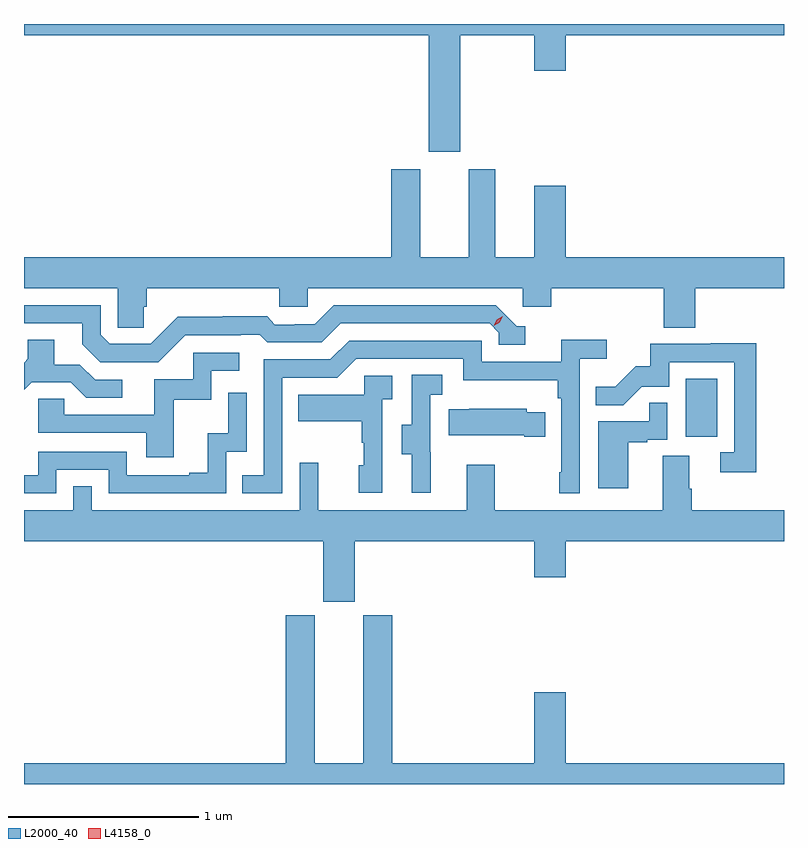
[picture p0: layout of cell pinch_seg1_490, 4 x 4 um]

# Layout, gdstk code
import gdstk
lib = gdstk.Library(unit=1e-6, precision=1e-09)
def R(c, l, rs):  # rectangles x0, y0, x1, y1
    for r in rs: c.add(gdstk.rectangle(r[:2], r[2:], *l))
def P(c, l, *ps):  # polygons
    for p in ps: c.add(gdstk.Polygon(p, *l))
L2000_40 = (2000, 40)
L4158_0 = (4158, 0)

pinch_seg1_490 = lib.new_cell('pinch_seg1_490')
R(pinch_seg1_490, L2000_40, [(1124.846,529.638,1125.01,529.945)])
P(pinch_seg1_490, L2000_40, [(1123.657,531.752),(1124.048,531.752),(1124.048,531.564),(1124.212,531.564),(1124.212,531.752),(1125.362,531.752),(1125.362,531.811),(1121.362,531.811),(1121.362,531.752),(1123.493,531.752),(1123.493,531.138),(1123.657,531.138)],
  [(1121.993,530.322),(1122.008,530.322),(1122.008,530.42),(1122.705,530.42),(1122.705,530.322),(1122.855,530.322),(1122.855,530.42),(1123.986,530.42),(1123.986,530.322),(1124.138,530.322),(1124.138,530.42),(1124.729,530.42),(1124.729,530.212),(1124.894,530.212),(1124.894,530.42),(1125.362,530.42),(1125.362,530.584),(1124.212,530.584),(1124.212,530.959),(1124.048,530.959),(1124.048,530.584),(1123.843,530.584),(1123.843,531.046),(1123.703,531.046),(1123.703,530.584),(1123.447,530.584),(1123.447,531.046),(1123.295,531.046),(1123.295,530.584),(1121.362,530.584),(1121.362,530.42),(1121.856,530.42),(1121.856,530.212),(1121.993,530.212)],
  [(1122.21,530.172),(1122.503,530.172),(1122.503,530.175),(1122.602,530.175),(1122.641,530.136),(1122.93,530.136),(1123.029,530.235),(1123.812,530.235),(1123.86,530.187),(1123.86,530.124),(1123.999,530.124),(1123.999,530.22),(1123.956,530.22),(1123.845,530.331),(1122.992,530.331),(1122.893,530.232),(1122.786,530.232),(1122.786,530.229),(1122.683,530.229),(1122.641,530.272),(1122.408,530.272),(1122.408,530.269),(1122.172,530.269),(1122.03,530.127),(1121.814,530.127),(1121.766,530.175),(1121.766,530.331),(1121.362,530.331),(1121.362,530.235),(1121.669,530.235),(1121.669,530.125),(1121.763,530.031),(1122.069,530.031)],
  [(1121.878,529.938),(1121.736,529.938),(1121.656,530.018),(1121.521,530.018),(1121.521,530.15),(1121.381,530.15),(1121.381,530.048),(1121.362,530.029),(1121.362,529.885),(1121.403,529.926),(1121.609,529.926),(1121.69,529.845),(1121.878,529.845)],
  [(1122.72,529.95),(1123.011,529.95),(1123.11,530.049),(1123.674,530.049),(1123.674,529.937),(1124.17,529.937),(1124.17,529.841),(1124.19,529.841),(1124.19,529.453),(1124.178,529.453),(1124.178,529.341),(1124.286,529.341),(1124.286,530.048),(1124.428,530.048),(1124.428,530.15),(1124.189,530.15),(1124.189,530.034),(1123.77,530.034),(1123.77,530.145),(1123.073,530.145),(1122.974,530.046),(1122.624,530.046),(1122.624,529.437),(1122.511,529.437),(1122.511,529.341),(1122.72,529.341)],
  [(1125.215,530.132),(1124.977,530.132),(1124.977,530.127),(1124.659,530.127),(1124.659,530.01),(1124.582,530.01),(1124.475,529.903),(1124.371,529.903),(1124.371,529.804),(1124.515,529.804),(1124.613,529.902),(1124.757,529.902),(1124.757,530.031),(1125.099,530.031),(1125.099,529.557),(1125.027,529.557),(1125.027,529.452),(1125.215,529.452)],
  [(1122.149,529.833),(1122.348,529.833),(1122.348,529.986),(1122.496,529.986),(1122.496,530.082),(1122.252,530.082),(1122.252,529.941),(1122.047,529.941),(1122.047,529.755),(1121.573,529.755),(1121.573,529.839),(1121.436,529.839),(1121.436,529.659),(1122.005,529.659),(1122.005,529.53),(1122.149,529.53)],
  [(1123.502,529.557),(1123.5,529.557),(1123.5,529.861),(1123.564,529.861),(1123.564,529.964),(1123.404,529.964),(1123.404,529.701),(1123.349,529.701),(1123.349,529.546),(1123.403,529.546),(1123.403,529.344),(1123.502,529.344)],
  [(1123.248,529.835),(1123.3,529.835),(1123.3,529.959),(1123.152,529.959),(1123.152,529.861),(1122.805,529.861),(1122.805,529.721),(1123.14,529.721),(1123.14,529.607),(1123.15,529.607),(1123.15,529.488),(1123.124,529.488),(1123.124,529.344),(1123.248,529.344)],
  [(1121.532,529.464),(1121.808,529.464),(1121.808,529.341),(1122.426,529.341),(1122.426,529.56),(1122.534,529.56),(1122.534,529.87),(1122.438,529.87),(1122.438,529.658),(1122.329,529.658),(1122.329,529.45),(1122.233,529.45),(1122.233,529.437),(1121.904,529.437),(1121.904,529.56),(1121.436,529.56),(1121.436,529.437),(1121.362,529.437),(1121.362,529.341),(1121.532,529.341)],
  [(1124.542,529.611),(1124.642,529.611),(1124.642,529.623),(1124.748,529.623),(1124.748,529.817),(1124.653,529.817),(1124.653,529.719),(1124.384,529.719),(1124.384,529.368),(1124.542,529.368)],
  [(1124.105,529.768),(1124.007,529.768),(1124.007,529.786),(1123.705,529.786),(1123.705,529.783),(1123.597,529.783),(1123.597,529.646),(1123.994,529.646),(1123.994,529.639),(1124.105,529.639)],
  [(1123.102,529.088),(1124.048,529.088),(1124.048,528.9),(1124.212,528.9),(1124.212,529.088),(1125.362,529.088),(1125.362,529.252),(1124.876,529.252),(1124.876,529.364),(1124.863,529.364),(1124.863,529.538),(1124.723,529.538),(1124.723,529.252),(1123.839,529.252),(1123.839,529.492),(1123.691,529.492),(1123.691,529.252),(1122.911,529.252),(1122.911,529.501),(1122.813,529.501),(1122.813,529.252),(1121.718,529.252),(1121.718,529.379),(1121.622,529.379),(1121.622,529.252),(1121.362,529.252),(1121.362,529.088),(1122.938,529.088),(1122.938,528.771),(1123.102,528.771)],
  [(1122.74,528.699),(1122.74,527.92),(1121.362,527.92),(1121.362,527.811),(1125.362,527.811),(1125.362,527.92),(1124.212,527.92),(1124.212,528.295),(1124.048,528.295),(1124.048,527.92),(1123.301,527.92),(1123.301,528.699),(1123.148,528.699),(1123.148,527.92),(1122.892,527.92),(1122.892,528.699)])
P(pinch_seg1_490, L4158_0, [(1123.835,530.222),(1123.835,530.222),(1123.851,530.255),(1123.881,530.274),(1123.881,530.274),(1123.881,530.274),(1123.866,530.241),(1123.835,530.222)])

lib.write_gds('pinch_seg1_490.gds')
